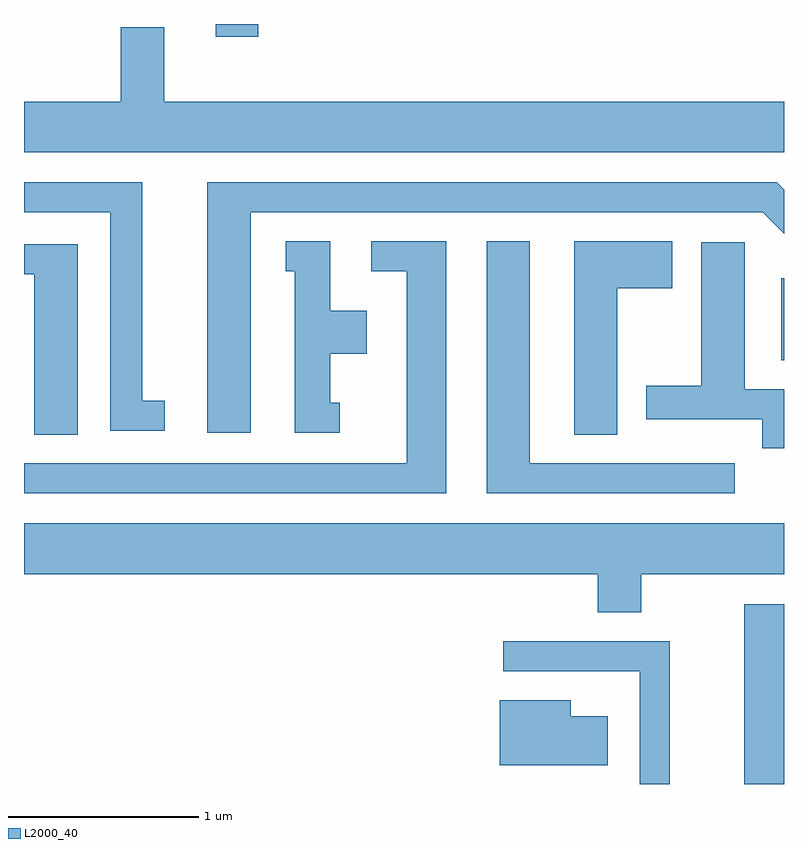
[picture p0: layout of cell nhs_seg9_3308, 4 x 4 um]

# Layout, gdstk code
import gdstk
lib = gdstk.Library(unit=1e-6, precision=1e-09)
def R(c, l, rs):  # rectangles x0, y0, x1, y1
    for r in rs: c.add(gdstk.rectangle(r[:2], r[2:], *l))
def P(c, l, *ps):  # polygons
    for p in ps: c.add(gdstk.Polygon(p, *l))
L2000_40 = (2000, 40)

nhs_seg9_3308 = lib.new_cell('nhs_seg9_3308')
R(nhs_seg9_3308, L2000_40, [(285.401,2048.432,285.611,2049.379), (285.596,2050.661,285.611,2051.094), (282.621,2052.366,282.844,2052.432)])
P(nhs_seg9_3308, L2000_40, [(285.611,2052.024),(282.349,2052.024),(282.349,2052.414),(282.121,2052.414),(282.121,2052.024),(281.611,2052.024),(281.611,2051.756),(285.611,2051.756)],
  [(282.804,2051.441),(285.499,2051.441),(285.611,2051.329),(285.611,2051.56),(285.572,2051.599),(282.576,2051.599),(282.576,2050.281),(282.804,2050.281)],
  [(282.353,2050.449),(282.234,2050.449),(282.234,2051.599),(281.611,2051.599),(281.611,2051.441),(282.066,2051.441),(282.066,2050.291),(282.353,2050.291)],
  [(284.734,2051.041),(285.024,2051.041),(285.024,2051.289),(284.506,2051.289),(284.506,2050.271),(284.734,2050.271)],
  [(285.353,2050.119),(284.274,2050.119),(284.274,2051.289),(284.046,2051.289),(284.046,2049.961),(285.353,2049.961)],
  [(283.273,2050.439),(283.224,2050.439),(283.224,2050.696),(283.414,2050.696),(283.414,2050.924),(283.224,2050.924),(283.224,2051.289),(282.988,2051.289),(282.988,2051.131),(283.036,2051.131),(283.036,2050.281),(283.273,2050.281)],
  [(283.834,2051.289),(283.438,2051.289),(283.438,2051.131),(283.626,2051.131),(283.626,2050.119),(281.611,2050.119),(281.611,2049.961),(283.834,2049.961)],
  [(285.611,2050.509),(285.404,2050.509),(285.404,2051.284),(285.176,2051.284),(285.176,2050.529),(284.886,2050.529),(284.886,2050.351),(285.496,2050.351),(285.496,2050.198),(285.611,2050.198)],
  [(281.894,2051.274),(281.611,2051.274),(281.611,2051.116),(281.666,2051.116),(281.666,2050.271),(281.894,2050.271)],
  [(284.859,2049.536),(285.611,2049.536),(285.611,2049.804),(281.611,2049.804),(281.611,2049.536),(284.631,2049.536),(284.631,2049.336),(284.859,2049.336)],
  [(285.009,2049.184),(284.133,2049.184),(284.133,2049.026),(284.851,2049.026),(284.851,2048.432),(285.009,2048.432)],
  [(284.684,2048.789),(284.489,2048.789),(284.489,2048.874),(284.116,2048.874),(284.116,2048.531),(284.684,2048.531)])

lib.write_gds('nhs_seg9_3308.gds')
